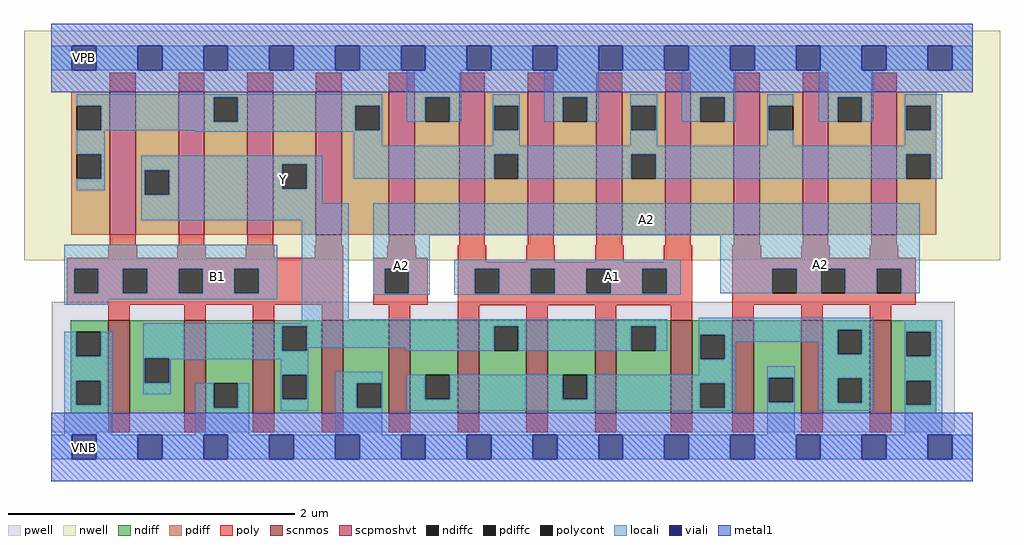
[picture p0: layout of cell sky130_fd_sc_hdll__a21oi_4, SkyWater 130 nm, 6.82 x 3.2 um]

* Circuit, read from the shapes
.subckt sky130_fd_sc_hdll__a21oi_4 A1 A2 B1 VGND VNB VPB VPWR Y
XM1 Y B1 VGND VNB sky130_fd_pr__nfet_01v8 w=0.65 l=0.15 m=4
XM2 n1 A2 VGND VNB sky130_fd_pr__nfet_01v8 w=0.65 l=0.15 m=4
XM3 Y A1 n1 VNB sky130_fd_pr__nfet_01v8 w=0.65 l=0.15 m=4
XM4 Y B1 n2 VPB sky130_fd_pr__pfet_01v8_hvt w=1 l=0.18 m=4
XM5 VPWR A2 n2 VPB sky130_fd_pr__pfet_01v8_hvt w=1 l=0.18 m=4
XM6 n2 A1 VPWR VPB sky130_fd_pr__pfet_01v8_hvt w=1 l=0.18 m=4
.ends

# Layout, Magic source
magic
tech sky130A
magscale 1 2
<< nwell >>
rect -38 261 1326 582
<< pwell >>
rect 1 21 1263 203
rect 30 -17 64 21
<< scnmos >>
rect 80 47 110 177
rect 186 47 216 177
rect 282 47 312 177
rect 378 47 408 177
rect 472 47 502 177
rect 568 47 598 177
rect 664 47 694 177
rect 760 47 790 177
rect 866 47 896 177
rect 952 47 982 177
rect 1048 47 1078 177
rect 1144 47 1174 177
<< scpmoshvt >>
rect 82 297 118 497
rect 178 297 214 497
rect 274 297 310 497
rect 370 297 406 497
rect 472 297 508 497
rect 570 297 606 497
rect 666 297 702 497
rect 762 297 798 497
rect 858 297 894 497
rect 954 297 990 497
rect 1050 297 1086 497
rect 1146 297 1182 497
<< ndiff >>
rect 27 161 80 177
rect 27 127 35 161
rect 69 127 80 161
rect 27 93 80 127
rect 27 59 35 93
rect 69 59 80 93
rect 27 47 80 59
rect 110 124 186 177
rect 110 90 131 124
rect 165 90 186 124
rect 110 47 186 90
rect 216 89 282 177
rect 216 55 227 89
rect 261 55 282 89
rect 216 47 282 55
rect 312 169 378 177
rect 312 135 323 169
rect 357 135 378 169
rect 312 101 378 135
rect 312 67 323 101
rect 357 67 378 101
rect 312 47 378 67
rect 408 89 472 177
rect 408 55 427 89
rect 461 55 472 89
rect 408 47 472 55
rect 502 101 568 177
rect 502 67 523 101
rect 557 67 568 101
rect 502 47 568 67
rect 598 169 664 177
rect 598 135 619 169
rect 653 135 664 169
rect 598 47 664 135
rect 694 101 760 177
rect 694 67 715 101
rect 749 67 760 101
rect 694 47 760 67
rect 790 169 866 177
rect 790 135 811 169
rect 845 135 866 169
rect 790 47 866 135
rect 896 157 952 177
rect 896 123 907 157
rect 941 123 952 157
rect 896 89 952 123
rect 896 55 907 89
rect 941 55 952 89
rect 896 47 952 55
rect 982 97 1048 177
rect 982 63 1003 97
rect 1037 63 1048 97
rect 982 47 1048 63
rect 1078 164 1144 177
rect 1078 130 1099 164
rect 1133 130 1144 164
rect 1078 96 1144 130
rect 1078 62 1099 96
rect 1133 62 1144 96
rect 1078 47 1144 62
rect 1174 161 1237 177
rect 1174 127 1195 161
rect 1229 127 1237 161
rect 1174 93 1237 127
rect 1174 59 1195 93
rect 1229 59 1237 93
rect 1174 47 1237 59
<< pdiff >>
rect 28 477 82 497
rect 28 443 36 477
rect 70 443 82 477
rect 28 409 82 443
rect 28 375 36 409
rect 70 375 82 409
rect 28 297 82 375
rect 118 387 178 497
rect 118 353 131 387
rect 165 353 178 387
rect 118 297 178 353
rect 214 489 274 497
rect 214 455 227 489
rect 261 455 274 489
rect 214 297 274 455
rect 310 395 370 497
rect 310 361 323 395
rect 357 361 370 395
rect 310 297 370 361
rect 406 477 472 497
rect 406 443 425 477
rect 459 443 472 477
rect 406 297 472 443
rect 508 489 570 497
rect 508 455 523 489
rect 557 455 570 489
rect 508 297 570 455
rect 606 477 666 497
rect 606 443 619 477
rect 653 443 666 477
rect 606 409 666 443
rect 606 375 619 409
rect 653 375 666 409
rect 606 297 666 375
rect 702 489 762 497
rect 702 455 715 489
rect 749 455 762 489
rect 702 297 762 455
rect 798 477 858 497
rect 798 443 811 477
rect 845 443 858 477
rect 798 409 858 443
rect 798 375 811 409
rect 845 375 858 409
rect 798 297 858 375
rect 894 489 954 497
rect 894 455 907 489
rect 941 455 954 489
rect 894 297 954 455
rect 990 477 1050 497
rect 990 443 1003 477
rect 1037 443 1050 477
rect 990 297 1050 443
rect 1086 489 1146 497
rect 1086 455 1099 489
rect 1133 455 1146 489
rect 1086 297 1146 455
rect 1182 477 1237 497
rect 1182 443 1195 477
rect 1229 443 1237 477
rect 1182 409 1237 443
rect 1182 375 1195 409
rect 1229 375 1237 409
rect 1182 297 1237 375
<< ndiffc >>
rect 35 127 69 161
rect 35 59 69 93
rect 131 90 165 124
rect 227 55 261 89
rect 323 135 357 169
rect 323 67 357 101
rect 427 55 461 89
rect 523 67 557 101
rect 619 135 653 169
rect 715 67 749 101
rect 811 135 845 169
rect 907 123 941 157
rect 907 55 941 89
rect 1003 63 1037 97
rect 1099 130 1133 164
rect 1099 62 1133 96
rect 1195 127 1229 161
rect 1195 59 1229 93
<< pdiffc >>
rect 36 443 70 477
rect 36 375 70 409
rect 131 353 165 387
rect 227 455 261 489
rect 323 361 357 395
rect 425 443 459 477
rect 523 455 557 489
rect 619 443 653 477
rect 619 375 653 409
rect 715 455 749 489
rect 811 443 845 477
rect 811 375 845 409
rect 907 455 941 489
rect 1003 443 1037 477
rect 1099 455 1133 489
rect 1195 443 1229 477
rect 1195 375 1229 409
<< poly >>
rect 82 497 118 523
rect 178 497 214 523
rect 274 497 310 523
rect 370 497 406 523
rect 472 497 508 523
rect 570 497 606 523
rect 666 497 702 523
rect 762 497 798 523
rect 858 497 894 523
rect 954 497 990 523
rect 1050 497 1086 523
rect 1146 497 1182 523
rect 82 282 118 297
rect 178 282 214 297
rect 274 282 310 297
rect 370 282 406 297
rect 472 282 508 297
rect 570 282 606 297
rect 666 282 702 297
rect 762 282 798 297
rect 858 282 894 297
rect 954 282 990 297
rect 1050 282 1086 297
rect 1146 282 1182 297
rect 80 265 120 282
rect 176 265 216 282
rect 272 265 312 282
rect 368 265 408 282
rect 470 265 510 282
rect 22 249 408 265
rect 22 215 32 249
rect 66 215 100 249
rect 134 215 178 249
rect 212 215 256 249
rect 290 215 408 249
rect 22 199 408 215
rect 450 249 526 265
rect 450 215 466 249
rect 500 215 526 249
rect 450 199 526 215
rect 568 259 608 282
rect 664 259 704 282
rect 760 259 800 282
rect 856 259 896 282
rect 568 249 896 259
rect 568 215 592 249
rect 626 215 670 249
rect 704 215 748 249
rect 782 215 826 249
rect 860 215 896 249
rect 80 177 110 199
rect 186 177 216 199
rect 282 177 312 199
rect 378 177 408 199
rect 472 177 502 199
rect 568 198 896 215
rect 568 177 598 198
rect 664 177 694 198
rect 760 177 790 198
rect 866 177 896 198
rect 952 265 992 282
rect 1048 265 1088 282
rect 1144 265 1184 282
rect 952 249 1208 265
rect 952 215 1008 249
rect 1042 215 1076 249
rect 1110 215 1154 249
rect 1188 215 1208 249
rect 952 199 1208 215
rect 952 177 982 199
rect 1048 177 1078 199
rect 1144 177 1174 199
rect 80 21 110 47
rect 186 21 216 47
rect 282 21 312 47
rect 378 21 408 47
rect 472 21 502 47
rect 568 21 598 47
rect 664 21 694 47
rect 760 21 790 47
rect 866 21 896 47
rect 952 21 982 47
rect 1048 21 1078 47
rect 1144 21 1174 47
<< polycont >>
rect 32 215 66 249
rect 100 215 134 249
rect 178 215 212 249
rect 256 215 290 249
rect 466 215 500 249
rect 592 215 626 249
rect 670 215 704 249
rect 748 215 782 249
rect 826 215 860 249
rect 1008 215 1042 249
rect 1076 215 1110 249
rect 1154 215 1188 249
<< locali >>
rect 0 527 29 561
rect 63 527 121 561
rect 155 527 213 561
rect 247 527 305 561
rect 339 527 397 561
rect 431 527 489 561
rect 523 527 581 561
rect 615 527 673 561
rect 707 527 765 561
rect 799 527 857 561
rect 891 527 949 561
rect 983 527 1041 561
rect 1075 527 1133 561
rect 1167 527 1225 561
rect 1259 527 1288 561
rect 36 489 463 493
rect 36 477 227 489
rect 70 455 227 477
rect 261 477 463 489
rect 261 455 425 477
rect 70 443 425 455
rect 459 443 463 477
rect 497 489 573 527
rect 497 455 523 489
rect 557 455 573 489
rect 617 477 655 493
rect 36 409 75 443
rect 201 441 463 443
rect 70 375 75 409
rect 423 421 463 441
rect 617 443 619 477
rect 653 443 655 477
rect 689 489 765 527
rect 689 455 715 489
rect 749 455 765 489
rect 809 477 847 493
rect 617 421 655 443
rect 809 443 811 477
rect 845 443 847 477
rect 881 489 957 527
rect 881 455 907 489
rect 941 455 957 489
rect 1001 477 1037 493
rect 809 421 847 443
rect 1001 443 1003 477
rect 1073 489 1149 527
rect 1073 455 1099 489
rect 1133 455 1149 489
rect 1193 477 1245 493
rect 1001 421 1037 443
rect 1193 443 1195 477
rect 1229 443 1245 477
rect 1193 421 1245 443
rect 423 409 1245 421
rect 36 359 75 375
rect 126 395 379 407
rect 126 387 323 395
rect 126 353 131 387
rect 165 361 323 387
rect 357 361 379 395
rect 423 375 619 409
rect 653 375 811 409
rect 845 375 1195 409
rect 1229 375 1245 409
rect 165 353 379 361
rect 126 341 379 353
rect 126 317 416 341
rect 18 249 316 283
rect 18 215 32 249
rect 66 215 100 249
rect 134 215 178 249
rect 212 215 256 249
rect 290 215 316 249
rect 18 207 316 215
rect 18 199 80 207
rect 350 179 416 317
rect 450 296 1214 341
rect 450 249 529 296
rect 450 215 466 249
rect 500 215 529 249
rect 450 213 529 215
rect 563 249 880 262
rect 563 215 592 249
rect 626 215 670 249
rect 704 215 748 249
rect 782 215 826 249
rect 860 215 880 249
rect 935 249 1214 296
rect 935 215 1008 249
rect 1042 215 1076 249
rect 1110 215 1154 249
rect 1188 215 1214 249
rect 563 213 880 215
rect 350 173 861 179
rect 129 169 861 173
rect 18 127 35 161
rect 69 127 85 161
rect 18 93 85 127
rect 18 59 35 93
rect 69 59 85 93
rect 129 135 323 169
rect 357 139 619 169
rect 357 135 359 139
rect 495 135 619 139
rect 653 135 811 169
rect 845 135 861 169
rect 905 164 1149 181
rect 905 157 1099 164
rect 129 124 359 135
rect 129 90 131 124
rect 165 123 359 124
rect 165 90 167 123
rect 129 74 167 90
rect 321 101 359 123
rect 905 123 907 157
rect 941 147 1099 157
rect 941 123 957 147
rect 18 17 85 59
rect 201 55 227 89
rect 261 55 277 89
rect 201 17 277 55
rect 321 67 323 101
rect 357 67 359 101
rect 321 51 359 67
rect 397 89 463 105
rect 905 101 957 123
rect 1073 130 1099 147
rect 1133 130 1149 164
rect 397 55 427 89
rect 461 55 463 89
rect 397 17 463 55
rect 497 67 523 101
rect 557 67 715 101
rect 749 89 957 101
rect 749 67 907 89
rect 497 55 907 67
rect 941 55 957 89
rect 497 51 957 55
rect 1001 97 1039 113
rect 1001 63 1003 97
rect 1037 63 1039 97
rect 1001 17 1039 63
rect 1073 96 1149 130
rect 1073 62 1099 96
rect 1133 62 1149 96
rect 1073 51 1149 62
rect 1193 161 1245 177
rect 1193 127 1195 161
rect 1229 127 1245 161
rect 1193 93 1245 127
rect 1193 59 1195 93
rect 1229 59 1245 93
rect 1193 17 1245 59
rect 0 -17 29 17
rect 63 -17 121 17
rect 155 -17 213 17
rect 247 -17 305 17
rect 339 -17 397 17
rect 431 -17 489 17
rect 523 -17 581 17
rect 615 -17 673 17
rect 707 -17 765 17
rect 799 -17 857 17
rect 891 -17 949 17
rect 983 -17 1041 17
rect 1075 -17 1133 17
rect 1167 -17 1225 17
rect 1259 -17 1288 17
<< viali >>
rect 29 527 63 561
rect 121 527 155 561
rect 213 527 247 561
rect 305 527 339 561
rect 397 527 431 561
rect 489 527 523 561
rect 581 527 615 561
rect 673 527 707 561
rect 765 527 799 561
rect 857 527 891 561
rect 949 527 983 561
rect 1041 527 1075 561
rect 1133 527 1167 561
rect 1225 527 1259 561
rect 29 -17 63 17
rect 121 -17 155 17
rect 213 -17 247 17
rect 305 -17 339 17
rect 397 -17 431 17
rect 489 -17 523 17
rect 581 -17 615 17
rect 673 -17 707 17
rect 765 -17 799 17
rect 857 -17 891 17
rect 949 -17 983 17
rect 1041 -17 1075 17
rect 1133 -17 1167 17
rect 1225 -17 1259 17
<< metal1 >>
rect 0 561 1288 592
rect 0 527 29 561
rect 63 527 121 561
rect 155 527 213 561
rect 247 527 305 561
rect 339 527 397 561
rect 431 527 489 561
rect 523 527 581 561
rect 615 527 673 561
rect 707 527 765 561
rect 799 527 857 561
rect 891 527 949 561
rect 983 527 1041 561
rect 1075 527 1133 561
rect 1167 527 1225 561
rect 1259 527 1288 561
rect 0 496 1288 527
rect 0 17 1288 48
rect 0 -17 29 17
rect 63 -17 121 17
rect 155 -17 213 17
rect 247 -17 305 17
rect 339 -17 397 17
rect 431 -17 489 17
rect 523 -17 581 17
rect 615 -17 673 17
rect 707 -17 765 17
rect 799 -17 857 17
rect 891 -17 949 17
rect 983 -17 1041 17
rect 1075 -17 1133 17
rect 1167 -17 1225 17
rect 1259 -17 1288 17
rect 0 -48 1288 -17
<< labels >>
flabel locali s 215 221 249 255 0 FreeSans 340 0 0 0 B1
port 3 nsew signal input
flabel locali s 935 215 1214 296 0 FreeSans 340 0 0 0 A2
port 2 nsew signal input
flabel locali s 768 221 802 255 0 FreeSans 340 0 0 0 A1
port 1 nsew signal input
flabel locali s 307 357 341 391 0 FreeSans 340 0 0 0 Y
port 8 nsew signal output
flabel pwell s 30 -17 64 17 0 FreeSans 200 0 0 0 VNB
port 5 nsew ground bidirectional
flabel nwell s 30 527 64 561 0 FreeSans 200 0 0 0 VPB
port 6 nsew power bidirectional
flabel metal1 s 30 -17 64 17 0 FreeSans 200 0 0 0 VGND
port 4 nsew ground bidirectional
flabel metal1 s 30 527 64 561 0 FreeSans 200 0 0 0 VPWR
port 7 nsew power bidirectional
rlabel locali s 450 296 1214 341 1 A2
port 2 nsew signal input
rlabel locali s 450 213 529 296 1 A2
port 2 nsew signal input
<< properties >>
string LEFsite unithd
string LEFclass CORE
string FIXED_BBOX 0 0 1288 544
string GDS_FILE $PDKPATH/libs.ref/sky130_fd_sc_hdll/gds/sky130_fd_sc_hdll.gds
string LEFsymmetry X Y R90
string GDS_END 1655866
string GDS_START 1646862
string LEFproperties maskLayoutSubType "abstract" prCellType "standard" originalViewName "layout"
<< end >>
